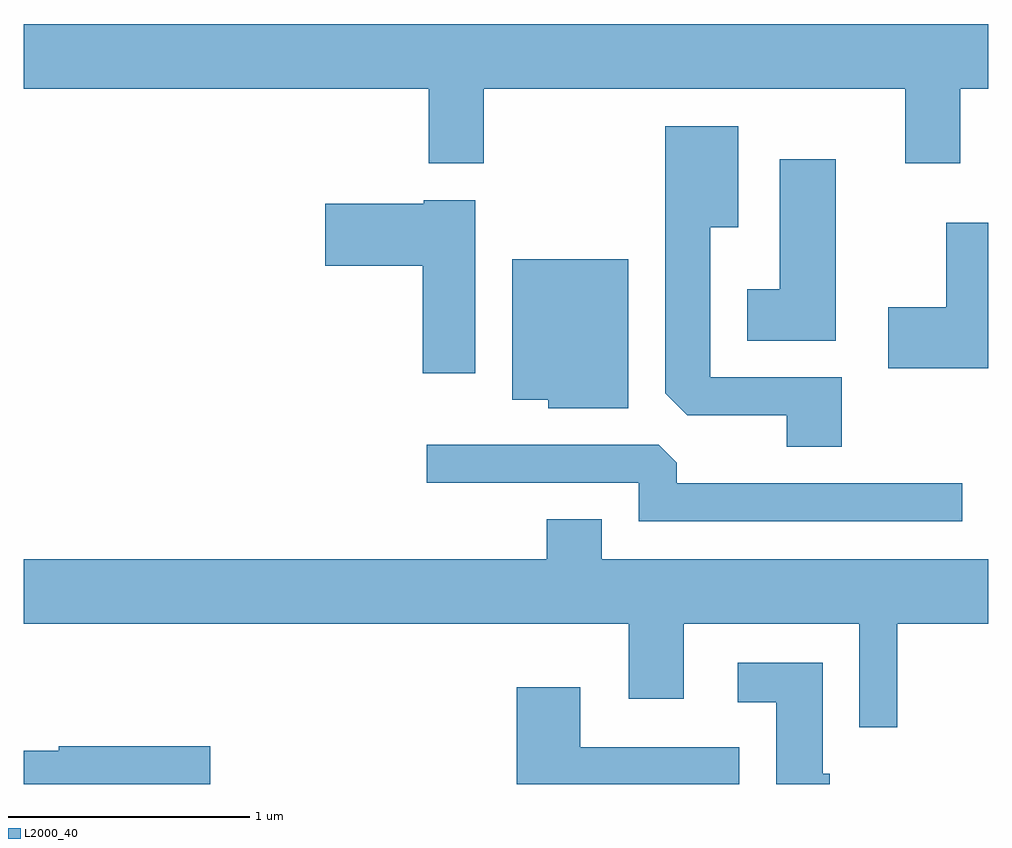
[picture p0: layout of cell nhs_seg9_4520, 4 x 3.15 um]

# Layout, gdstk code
import gdstk
lib = gdstk.Library(unit=1e-6, precision=1e-09)
def P(c, l, *ps):  # polygons
    for p in ps: c.add(gdstk.Polygon(p, *l))
L2000_40 = (2000, 40)

nhs_seg9_4520 = lib.new_cell('nhs_seg9_4520')
P(nhs_seg9_4520, L2000_40, [(319.519,2047.316),(321.266,2047.316),(321.266,2047.006),(321.494,2047.006),(321.494,2047.316),(321.611,2047.316),(321.611,2047.584),(317.611,2047.584),(317.611,2047.316),(319.291,2047.316),(319.291,2047.006),(319.519,2047.006)],
  [(321.004,2046.119),(320.459,2046.119),(320.459,2046.741),(320.574,2046.741),(320.574,2047.159),(320.271,2047.159),(320.271,2046.052),(320.362,2045.961),(320.776,2045.961),(320.776,2045.831),(321.004,2045.831)],
  [(320.979,2047.024),(320.746,2047.024),(320.746,2046.484),(320.611,2046.484),(320.611,2046.271),(320.979,2046.271)],
  [(319.484,2046.854),(319.27,2046.854),(319.27,2046.839),(318.861,2046.839),(318.861,2046.581),(319.266,2046.581),(319.266,2046.136),(319.484,2046.136)],
  [(321.611,2046.759),(321.436,2046.759),(321.436,2046.409),(321.196,2046.409),(321.196,2046.156),(321.611,2046.156)],
  [(320.119,2046.609),(319.636,2046.609),(319.636,2046.026),(319.786,2046.026),(319.786,2045.991),(320.119,2045.991)],
  [(321.503,2045.679),(320.319,2045.679),(320.319,2045.764),(320.244,2045.839),(319.283,2045.839),(319.283,2045.681),(320.161,2045.681),(320.161,2045.521),(321.503,2045.521)],
  [(321.234,2045.096),(321.611,2045.096),(321.611,2045.364),(320.009,2045.364),(320.009,2045.529),(319.781,2045.529),(319.781,2045.364),(317.611,2045.364),(317.611,2045.096),(320.121,2045.096),(320.121,2044.786),(320.349,2044.786),(320.349,2045.096),(321.076,2045.096),(321.076,2044.668),(321.234,2044.668)],
  [(320.954,2044.474),(320.924,2044.474),(320.924,2044.934),(320.573,2044.934),(320.573,2044.771),(320.731,2044.771),(320.731,2044.432),(320.954,2044.432)],
  [(320.579,2044.584),(319.919,2044.584),(319.919,2044.834),(319.656,2044.834),(319.656,2044.432),(320.579,2044.432)],
  [(318.384,2044.589),(317.756,2044.589),(317.756,2044.569),(317.611,2044.569),(317.611,2044.432),(318.384,2044.432)])

lib.write_gds('nhs_seg9_4520.gds')
